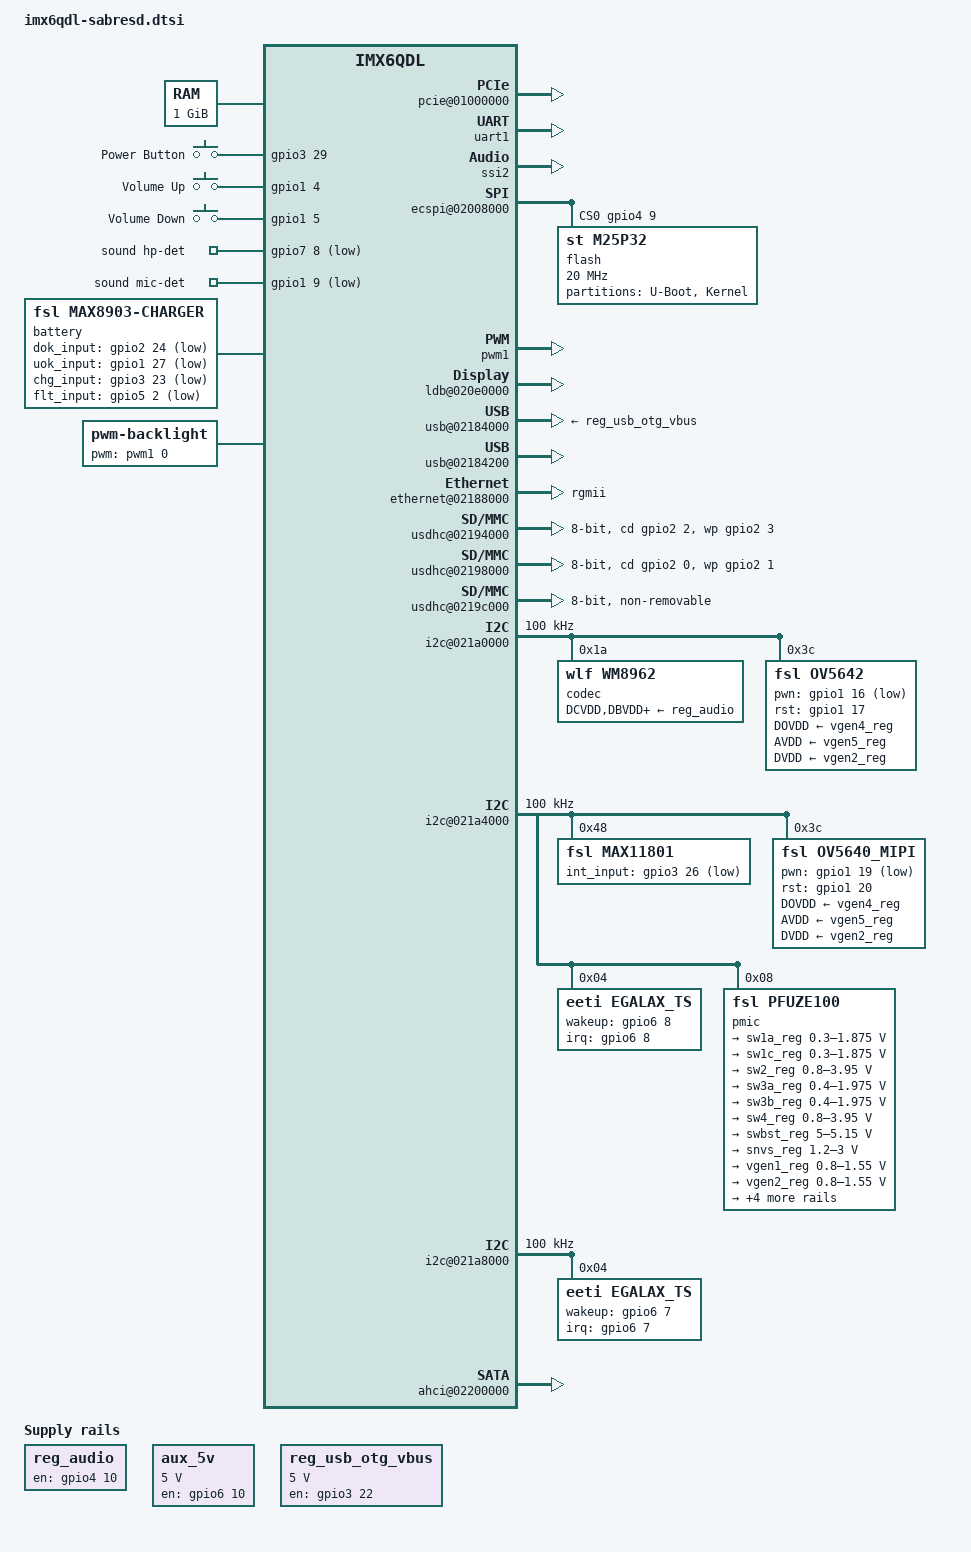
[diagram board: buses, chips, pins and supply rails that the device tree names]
/*
 * Copyright 2012 Freescale Semiconductor, Inc.
 * Copyright 2011 Linaro Ltd.
 *
 * The code contained herein is licensed under the GNU General Public
 * License. You may obtain a copy of the GNU General Public License
 * Version 2 or later at the following locations:
 *
 * http://www.opensource.org/licenses/gpl-license.html
 * http://www.gnu.org/copyleft/gpl.html
 */

/ {
	aliases {
		mxcfb0 = &mxcfb1;
		mxcfb1 = &mxcfb2;
		mxcfb2 = &mxcfb3;
		mxcfb3 = &mxcfb4;
	};

	memory {
		reg = <0x10000000 0x40000000>;
	};

	soc {
		pcie@01000000 {
			pwr-gpios = <&gpio3 19 0>;
			rst-gpios = <&gpio7 12 0>;
			status = "okay";
		};

		aips-bus@02000000 { /* AIPS1 */
			spba-bus@02000000 {
				uart1: serial@02020000 {
					pinctrl-names = "default";
					pinctrl-0 = <&pinctrl_uart1_1>;
					status = "okay";
				};

				ssi2: ssi@0202c000 {
					fsl,mode = "i2s-slave";
					status = "okay";
				};

				ecspi@02008000 { /* eCSPI1 */
					fsl,spi-num-chipselects = <1>;
					cs-gpios = <&gpio4 9 0>;
					pinctrl-names = "default";
					pinctrl-0 = <&pinctrl_ecspi1_2>;
					status = "okay";

					flash: m25p32@0 {
						#address-cells = <1>;
						#size-cells = <1>;
						compatible = "st,m25p32", "st,m25p";
						spi-max-frequency = <20000000>;
						reg = <0>;

						partition@0 {
							label = "U-Boot";
							reg = <0x0 0x100000>;
							read-only;
						};

						partition@40000 {
							label = "Kernel";
							reg = <0x40000 0x300000>;
						};
					};
				};
			};

			pwm1: pwm@02080000 {
				pinctrl-names = "default";
				pinctrl-0 = <&pinctrl_pwm0_0>;
				status = "okay";
			};

			ldb@020e0000 {
				ipu_id = <1>;
				disp_id = <1>;
				ext_ref = <1>;
				mode = "sep1";
				sec_ipu_id = <1>;
				sec_disp_id = <0>;
				status = "okay";
			};
		};

		aips-bus@02100000 { /* AIPS2 */
			usb@02184000 { /* USB OTG */
				vbus-supply = <&reg_usb_otg_vbus>;
				pinctrl-names = "default";
				pinctrl-0 = <&pinctrl_usbotg_2>;
				disable-over-current;
				status = "okay";
			};

			usb@02184200 { /* USB1 */
				status = "okay";
			};

			ethernet@02188000 {
				pinctrl-names = "default";
				pinctrl-0 = <&pinctrl_enet_1>;
				phy-mode = "rgmii";
				status = "okay";
			};

			usdhc@02194000 { /* uSDHC2 */
				pinctrl-names = "default";
				pinctrl-0 = <&pinctrl_usdhc2_1>;
				cd-gpios = <&gpio2 2 0>;
				wp-gpios = <&gpio2 3 0>;
				bus-width = <8>;
				no-1-8-v;
				keep-power-in-suspend;
				enable-sdio-wakeup;
				status = "okay";
			};

			usdhc@02198000 { /* uSDHC3 */
				pinctrl-names = "default";
				pinctrl-0 = <&pinctrl_usdhc3_1>;
				cd-gpios = <&gpio2 0 0>;
				wp-gpios = <&gpio2 1 0>;
				bus-width = <8>;
				no-1-8-v;
				keep-power-in-suspend;
				enable-sdio-wakeup;
				status = "okay";
			};

			usdhc@0219c000 { /* uSDHC4 */
				pinctrl-names = "default";
				pinctrl-0 = <&pinctrl_usdhc4_1>;
				non-removable;
				bus-width = <8>;
				no-1-8-v;
				keep-power-in-suspend;
				enable-sdio-wakeup;
				status = "okay";
			};

			audmux@021d8000 {
				status = "okay";
				pinctrl-names = "default";
				pinctrl-0 = <&pinctrl_audmux_2>;
			};

			i2c@021a0000 { /* I2C1 */
				status = "okay";
				clock-frequency = <100000>;
				pinctrl-names = "default";
				pinctrl-0 = <&pinctrl_i2c1_2>;

				codec: wm8962@1a {
					compatible = "wlf,wm8962";
					reg = <0x1a>;
					clocks = <&clks 169>;
					DCVDD-supply = <&reg_audio>;	/* 1.8v */
					DBVDD-supply = <&reg_audio>;	/* 1.8v */
					AVDD-supply = <&reg_audio>;	/* 1.8v */
					CPVDD-supply = <&reg_audio>;	/* 1.8v */
					MICVDD-supply = <&reg_audio>;	/* 3.3v */
					PLLVDD-supply = <&reg_audio>;	/* 1.8v */
					SPKVDD1-supply = <&reg_audio>;	/* 4.2v */
					SPKVDD2-supply = <&reg_audio>;	/* 4.2v */
					gpio-cfg = <
						0x0000 /* 0:Default */
						0x0000 /* 1:Default */
						0x0013 /* 2:FN_DMICCLK */
						0x0000 /* 3:Default */
						0x8014 /* 4:FN_DMICCDAT */
						0x0000 /* 5:Default */
					>;
				};

				ov5642: ov5642@3c {
					compatible = "fsl,ov5642";
					reg = <0x3c>;
					pinctrl-names = "default";
					pinctrl-0 = <&pinctrl_ipu1_csi0_1>;
					clocks = <&clks 169>;
					clock-names = "csi_mclk";
					DOVDD-supply = <&vgen4_reg>; /* 1.8v */
					AVDD-supply = <&vgen5_reg>;  /* 2.8v, on rev C board is VGEN3 */
					DVDD-supply = <&vgen2_reg>;  /* 1.5v*/
					pwn-gpios = <&gpio1 16 1>;   /* active low: SD1_DAT0 */
					rst-gpios = <&gpio1 17 0>;   /* active high: SD1_DAT1 */
					csi_id = <0>;
					mclk = <24000000>;
					mclk_source = <0>;
				};
			};

			i2c@021a4000 { /* I2C2 */
                                status = "okay";
                                clock-frequency = <100000>;
                                pinctrl-names = "default";
                                pinctrl-0 = <&pinctrl_i2c2_2>;

				max11801@48 {
					compatible = "fsl,max11801";
					reg = <0x48>;
					int_input = <&gpio3 26 1>;
                                };

				ov5640_mipi: ov5640_mipi@3c { /* i2c2 driver */
					compatible = "fsl,ov5640_mipi";
					reg = <0x3c>;
					clocks = <&clks 169>;
					clock-names = "csi_mclk";
					DOVDD-supply = <&vgen4_reg>; /* 1.8v */
					AVDD-supply = <&vgen5_reg>;  /* 2.8v, on rev C board is VGEN3 */
					DVDD-supply = <&vgen2_reg>;  /* 1.5v*/
					pwn-gpios = <&gpio1 19 1>;   /* active low: SD1_CLK */
					rst-gpios = <&gpio1 20 0>;   /* active high: SD1_DAT2 */
					csi_id = <1>;
					mclk = <24000000>;
					mclk_source = <0>;
				};

				egalax_ts@04 {
					compatible = "eeti,egalax_ts";
					reg = <0x04>;
					interrupt-parent = <&gpio6>;
					interrupts = <8 2>;
					wakeup-gpios = <&gpio6 8 0>;
				};

				pmic: pfuze100@08 {
					compatible = "fsl,pfuze100";
					reg = <0x08>;

					regulators {
						sw1a_reg: pfuze100__sw1a {
							regulator-min-microvolt = <300000>;
							regulator-max-microvolt = <1875000>;
							regulator-standby-microvolt = <18000>;
							regulator-boot-on;
							regulator-always-on;
						};

						sw1c_reg: pfuze100__sw1c {
							regulator-min-microvolt = <300000>;
							regulator-max-microvolt = <1875000>;
							regulator-boot-on;
							regulator-always-on;
						};

						sw2_reg: pfuze100__sw2 {
							regulator-min-microvolt = <800000>;
							regulator-max-microvolt = <3950000>;
							regulator-boot-on;
							regulator-always-on;
						};

						sw3a_reg: pfuze100__sw3a {
							regulator-min-microvolt = <400000>;
							regulator-max-microvolt = <1975000>;
							regulator-boot-on;
							regulator-always-on;
						};

						sw3b_reg: pfuze100__sw3b {
							regulator-min-microvolt = <400000>;
							regulator-max-microvolt = <1975000>;
							regulator-boot-on;
							regulator-always-on;
						};

						sw4_reg: pfuze100__sw4 {
							regulator-min-microvolt = <800000>;
							regulator-max-microvolt = <3950000>;
						};

						swbst_reg: pfuze100__swbst {
							regulator-min-microvolt = <5000000>;
							regulator-max-microvolt = <5150000>;
						};

						snvs_reg: pfuze100__vsnvs {
							regulator-min-microvolt = <1200000>;
							regulator-max-microvolt = <3000000>;
							regulator-boot-on;
							regulator-always-on;
						};

						vref_reg: pfuze100__vrefddr {
							regulator-boot-on;
							regulator-always-on;
						};

						vgen1_reg: pfuze100__vgen1 {
							regulator-min-microvolt = <800000>;
							regulator-max-microvolt = <1550000>;
						};

						vgen2_reg: pfuze100__vgen2 {
							regulator-min-microvolt = <800000>;
							regulator-max-microvolt = <1550000>;
						};

						vgen3_reg: pfuze100__vgen3 {
							regulator-min-microvolt = <1800000>;
							regulator-max-microvolt = <3300000>;
						};

						vgen4_reg: pfuze100__vgen4 {
							regulator-min-microvolt = <1800000>;
							regulator-max-microvolt = <3300000>;
							regulator-always-on;
						};

						vgen5_reg: pfuze100__vgen5 {
							regulator-min-microvolt = <1800000>;
							regulator-max-microvolt = <3300000>;
							regulator-always-on;
						};

						vgen6_reg: pfuze100__vgen6 {
							regulator-min-microvolt = <1800000>;
							regulator-max-microvolt = <3300000>;
						};
					};
				};
			};

			i2c@021a8000 { /* I2C3 */
				status = "okay";
				clock-frequency = <100000>;
				pinctrl-names = "default";
				pinctrl-0 = <&pinctrl_i2c3_2>;

				egalax_ts@04 {
					compatible = "eeti,egalax_ts";
					reg = <0x04>;
					interrupt-parent = <&gpio6>;
					interrupts = <7 2>;
					wakeup-gpios = <&gpio6 7 0>;
				};
			};

			mipi@021dc000 { /* MIPI-CSI */
				status = "okay";
				ipu_id = <0>;
				csi_id = <1>;
				v_channel = <0>;
				lanes = <2>;
			};

			vdoa@021e4000 {
				status = "okay";
			};
		};

		ahci@02200000 { /* AHCI SATA */
			status = "okay";
		};

		ipu1: ipu@02400000 { /* IPU1 */
			bypass_reset = <0>;
		};

	};

	cpufreq-setpoint {
			/*
			 * 1:bypass internal regulator,supplied by external reg
			 * 0:enable internal regulator
			 */
			bypass-mode = <1>;
			VDDARM-supply = <&sw1a_reg>;
			VDDSOC-supply = <&sw1c_reg>;
	};

	gpio-keys {
		compatible = "gpio-keys";

		power {
			label = "Power Button";
			gpios = <&gpio3 29 0>;
			linux,code = <116>; /* KEY_POWER */
			gpio-key,wakeup;
		};

		volume-up {
			label = "Volume Up";
			gpios = <&gpio1 4 0>;
			linux,code = <115>; /* KEY_VOLUMEUP */
		};

		volume-down {
			label = "Volume Down";
			gpios = <&gpio1 5 0>;
			linux,code = <114>; /* KEY_VOLUMEDOWN */
		};
	};

	regulators {
		compatible = "simple-bus";

		reg_audio: 8962_supply {
			compatible = "regulator-fixed";
			regulator-name = "8962-SUPPLY";
			gpio = <&gpio4 10 0>;
			enable-active-high;
		};

		aux_5v: aux5v {
			compatible = "regulator-fixed";
			regulator-name = "AUX_5V";
			regulator-min-microvolt = <5000000>;
			regulator-max-microvolt = <5000000>;
			gpio = <&gpio6 10 1>;
			regulator-boot-on;
			enable-active-high;
		};

		reg_usb_otg_vbus: usb_otg_vbus {
			compatible = "regulator-fixed";
			regulator-name = "usb_otg_vbus";
			regulator-min-microvolt = <5000000>;
			regulator-max-microvolt = <5000000>;
			gpio = <&gpio3 22 0>;
			enable-active-high;
		};
	};

	sound {
		compatible = "fsl,imx6q-sabresd-wm8962",
			     "fsl,imx-audio-wm8962";
		model = "wm8962-audio";
		ssi-controller = <&ssi2>;
		audio-codec = <&codec>;

		audio-routing =
			"Headphone Jack", "HPOUTL",
			"Headphone Jack", "HPOUTR",
			"Ext Spk", "SPKOUTL",
			"Ext Spk", "SPKOUTR",
			"MICBIAS", "AMIC",
			"IN3R", "MICBIAS",
			"DMIC", "MICBIAS",
			"DMICDAT", "DMIC";
		mux-int-port = <2>;
		mux-ext-port = <3>;
		hp-det-gpios = <&gpio7 8 1>;	/*active low*/
		mic-det-gpios = <&gpio1 9 1>;	/*active low*/
	};

	battery {
		compatible = "fsl,max8903-charger";
		pinctrl-names = "default";
		dok_input = <&gpio2 24 1>;
		uok_input = <&gpio1 27 1>;
		chg_input = <&gpio3 23 1>;
		flt_input = <&gpio5 2 1>;
		fsl,dcm_always_high;
		fsl,dc_valid;
		fsl,usb_valid;
		fsl,imx6q;
		status = "okay";
	};

	backlight {
		compatible = "pwm-backlight";
		pwms = <&pwm1 0 5000000>;
		brightness-levels = <0 4 8 16 32 64 128 255>;
		default-brightness-level = <7>;
	};

	mxcfb1: fb@0 {
		compatible = "fsl,mxc_sdc_fb";
		disp_dev = "ldb";
		interface_pix_fmt = "RGB666";
		mode_str ="LDB-XGA";
		default_bpp = <16>;
		int_clk = <0>;
		late_init = <0>;
		status = "disabled";
	};

	mxcfb2: fb@1 {
		compatible = "fsl,mxc_sdc_fb";
		disp_dev = "ldb";
		interface_pix_fmt = "RGB666";
		mode_str ="LDB-XGA";
		default_bpp = <16>;
		int_clk = <0>;
		late_init = <0>;
		status = "disabled";
	};

	mxcfb3: fb@2 {
		compatible = "fsl,mxc_sdc_fb";
		disp_dev = "lcd";
		interface_pix_fmt = "RGB565";
		mode_str ="CLAA-WVGA";
		default_bpp = <16>;
		int_clk = <0>;
		late_init = <0>;
		status = "disabled";
	};

	mxcfb4: fb@3 {
		compatible = "fsl,mxc_sdc_fb";
		disp_dev = "ldb";
		interface_pix_fmt = "RGB666";
		mode_str ="LDB-XGA";
		default_bpp = <16>;
		int_clk = <0>;
		late_init = <0>;
		status = "disabled";
	};

	lcd@0 {
		compatible = "fsl,lcd";
		ipu_id = <0>;
		disp_id = <0>;
		default_ifmt = "RGB565";
		pinctrl-names = "default";
		pinctrl-0 = <&pinctrl_ipu1_1>;
		status = "okay";
	};

	v4l2_cap_0 {
		compatible = "fsl,imx6q-v4l2-capture";
		ipu_id = <0>;
		csi_id = <0>;
		mclk_source = <0>;
		status = "okay";
	};

	v4l2_cap_1 {
		compatible = "fsl,imx6q-v4l2-capture";
		ipu_id = <0>;
		csi_id = <1>;
		mclk_source = <0>;
		status = "okay";
	};

	v4l2_out {
		compatible = "fsl,mxc_v4l2_output";
		status = "okay";
	};
};
